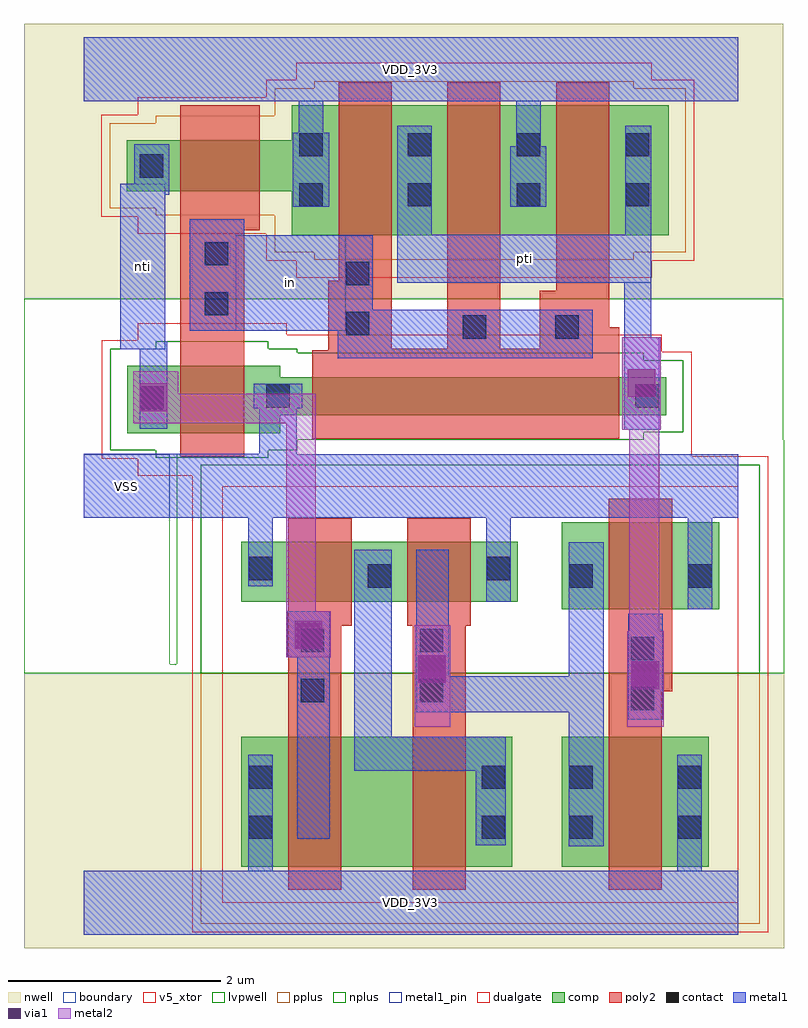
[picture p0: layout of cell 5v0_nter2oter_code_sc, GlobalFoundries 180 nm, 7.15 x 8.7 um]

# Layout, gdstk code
from math import pi, radians
import gdstk
lib = gdstk.Library(unit=1e-6, precision=1e-09)
def R(c, l, rs):  # rectangles x0, y0, x1, y1
    for r in rs: c.add(gdstk.rectangle(r[:2], r[2:], *l))
def A(c, l, x, y, w, h, nx, ny, dx, dy):  # array of equal rectangles
    R(c, l, [(x+i*dx, y+j*dy, x+i*dx+w, y+j*dy+h) for i in range(nx) for j in range(ny)])
def P(c, l, *ps):  # polygons
    for p in ps: c.add(gdstk.Polygon(p, *l))
boundary = (0, 0)
nwell = (21, 0)
comp = (22, 0)
poly2 = (30, 0)
pplus = (31, 0)
nplus = (32, 0)
contact = (33, 0)
metal1 = (34, 0)
metal1_pin = (34, 10)
via1 = (35, 0)
metal2 = (36, 0)
dualgate = (55, 0)
v5_xtor = (112, 1)
lvpwell = (204, 0)

not_internal = lib.new_cell('not_internal')
R(not_internal, boundary, [(0,0,2.24,3.92)])
R(not_internal, nwell, [(-0.43,1.76,2.67,4.35)])
R(not_internal, comp, [(0.18,0.34,1.66,1.16), (0.28,2.36,1.66,3.58)])
P(not_internal, poly2, [(0.62,0.12),(0.62,1.93),(0.72,1.93),(0.72,3.8),(1.22,3.8),(1.22,0.12)])
R(not_internal, pplus, [(-0.2,1.76,2.44,4.12)])
R(not_internal, nplus, [(-0.2,-0.2,2.44,1.76)])
R(not_internal, contact, [(0.25,0.735,0.47,0.955), (1.37,0.735,1.59,0.955), (0.79,1.42,1.01,1.64), (0.79,1.89,1.01,2.11), (0.35,2.63,0.57,2.85), (1.37,2.63,1.59,2.85), (0.35,3.1,0.57,3.32), (1.37,3.1,1.59,3.32)])
R(not_internal, metal1, [(1.265,0.53,1.595,3.39), (0.71,1.2,1.035,2.2)])
P(not_internal, metal1, [(0,-0.3),(0,0.3),(0.245,0.3),(0.245,1.16),(0.475,1.16),(0.475,0.3),(2.24,0.3),(2.24,-0.3)],
  [(0.345,2.53),(0.345,3.62),(0,3.62),(0,4.22),(2.24,4.22),(2.24,3.62),(0.575,3.62),(0.575,2.53)])
R(not_internal, dualgate, [(-0.28,-0.28,2.52,4.2)])
R(not_internal, v5_xtor, [(0,0,2.24,3.92)])
R(not_internal, lvpwell, [(-0.43,-0.43,2.67,1.76)])
not_internal.add(gdstk.Label('VSS', (1.12,-0.08), layer=34, texttype=10))
not_internal.add(gdstk.Label('ZN', (1.4,1.96), layer=34, texttype=10))
not_internal.add(gdstk.Label('I', (0.84,1.96), layer=34, texttype=10))
not_internal.add(gdstk.Label('VDD', (1.12,3.92), layer=34, texttype=10))
not_internal.add(gdstk.Label('& Vendor GLOBALFOUNDRIES', (0,2), layer=63, texttype=63))
not_internal.add(gdstk.Label('& Product GF018hv5v_mcu_sc7', (0,1.5), layer=63, texttype=63))
not_internal.add(gdstk.Label('& Version 2015q2v1', (0,1), layer=63, texttype=63))
not_internal.add(gdstk.Label('& Metric 1.00', (0,0.5), layer=63, texttype=63))
not_internal.add(gdstk.Label('VNW', (0.345,3.92), layer=21, texttype=10))
not_internal.add(gdstk.Label('VPW', (0.34,-0.085), layer=204, texttype=10))

nor_mod = lib.new_cell('nor_mod')
R(nor_mod, boundary, [(0,0,3.36,3.92)])
R(nor_mod, nwell, [(-0.43,1.76,3.79,4.35)])
R(nor_mod, comp, [(0.18,0.525,2.78,1.09), (0.18,2.36,2.73,3.58)])
P(nor_mod, poly2, [(0.62,0.305),(0.62,3.8),(1.12,3.8),(1.12,1.315),(1.22,1.315),(1.22,0.305)],
  [(1.74,0.305),(1.74,1.315),(1.79,1.315),(1.79,3.8),(2.29,3.8),(2.29,1.315),(2.34,1.315),(2.34,0.305)])
R(nor_mod, pplus, [(-0.2,1.76,3.56,4.12)])
R(nor_mod, nplus, [(-0.2,-0.2,3.56,1.76)])
R(nor_mod, contact, [(0.25,0.665,0.47,0.885), (2.49,0.665,2.71,0.885), (1.37,0.735,1.59,0.955), (0.74,1.345,0.96,1.565), (1.86,1.345,2.08,1.565), (0.74,1.815,0.96,2.035), (1.86,1.815,2.08,2.035), (0.25,2.63,0.47,2.85), (2.44,2.63,2.66,2.85), (0.25,3.1,0.47,3.32), (2.44,3.1,2.66,3.32)])
R(nor_mod, metal1, [(0.705,1.18,1.01,3.32)])
P(nor_mod, metal1, [(1.24,0.6),(1.24,2.68),(2.385,2.68),(2.385,3.38),(2.665,3.38),(2.665,2.36),(1.595,2.36),(1.595,0.6)],
  [(1.825,0.6),(1.825,2.13),(2.855,2.13),(2.855,1.79),(2.13,1.79),(2.13,0.6)],
  [(0,-0.3),(0,0.3),(0.245,0.3),(0.245,0.945),(0.475,0.945),(0.475,0.3),(2.485,0.3),(2.485,1.09),(2.715,1.09),(2.715,0.3),(3.36,0.3),(3.36,-0.3)],
  [(0.245,2.53),(0.245,3.62),(0,3.62),(0,4.22),(3.36,4.22),(3.36,3.62),(0.475,3.62),(0.475,2.53)])
R(nor_mod, dualgate, [(-0.28,-0.28,3.64,4.2)])
R(nor_mod, v5_xtor, [(0,0,3.36,3.92)])
R(nor_mod, lvpwell, [(-0.43,-0.43,3.79,1.76)])
nor_mod.add(gdstk.Label('VDD', (1.68,3.925), layer=34, texttype=10))
nor_mod.add(gdstk.Label('VSS', (1.68,0), layer=34, texttype=10))
nor_mod.add(gdstk.Label('ZN', (1.96,2.52), layer=34, texttype=10))
nor_mod.add(gdstk.Label('A1', (1.96,1.4), layer=34, texttype=10))
nor_mod.add(gdstk.Label('A2', (0.84,2.52), layer=34, texttype=10))
nor_mod.add(gdstk.Label('& Vendor GLOBALFOUNDRIES', (0,2), layer=63, texttype=63))
nor_mod.add(gdstk.Label('& Product GF018hv5v_mcu_sc7', (0,1.5), layer=63, texttype=63))
nor_mod.add(gdstk.Label('& Version 2015q2v1', (0,1), layer=63, texttype=63))
nor_mod.add(gdstk.Label('& Metric 1.00', (0,0.5), layer=63, texttype=63))
nor_mod.add(gdstk.Label('VNW', (0.345,3.92), layer=21, texttype=10))
nor_mod.add(gdstk.Label('VPW', (0.34,-0.085), layer=204, texttype=10))

c_5v0_nter2oter_code_sc = lib.new_cell('5v0_nter2oter_code_sc')
R(c_5v0_nter2oter_code_sc, nwell, [(-2.52,-4.63,0.485,-2.15), (-2.52,-2.15,-0.045,-2.04), (-2.52,1.48,4.625,4.07)])
R(c_5v0_nter2oter_code_sc, comp, [(-1.55,0.215,-0.11,0.385), (-1.55,0.385,3.52,0.745), (-1.55,0.745,-0.11,0.85), (0,2.08,3.545,2.495), (-1.555,2.495,3.545,2.975), (0,2.975,3.545,3.3)])
R(c_5v0_nter2oter_code_sc, poly2, [(-1.05,-0.005,-0.45,2.125), (0.19,0.165,3.08,0.995), (0.34,0.995,3.08,1.01), (0.34,1.01,0.94,1.65), (1.46,1.01,1.96,3.52), (2.33,1.01,3.08,1.215), (2.33,1.215,2.985,1.555), (2.485,1.555,2.985,3.52), (0.44,1.65,0.94,3.52), (-1.05,2.125,-0.3,3.3)])
R(c_5v0_nter2oter_code_sc, pplus, [(2.235,-4.02,2.38,-2.48), (0.21,1.85,3.215,1.92), (-0.16,1.92,3.705,2.265), (-1.28,2.265,3.705,2.335), (-1.715,2.335,3.705,3.135), (-1.28,3.135,3.705,3.205), (-0.16,3.205,3.705,3.46), (0.21,3.46,3.215,3.53)])
R(c_5v0_nter2oter_code_sc, nplus, [(2.285,-1.53,2.38,-0.645), (-1.28,-0.015,-0.22,0.055), (-1.71,0.055,0.05,0.155), (-1.71,0.155,3.31,0.225), (-1.71,0.225,3.68,0.905), (-1.71,0.905,3.31,0.975), (-1.71,0.975,0.05,1.01), (-1.28,1.01,-0.22,1.08)])
A(c_5v0_nter2oter_code_sc, contact, 1.09, 2.35, 0.22, 0.22, 3, 2, 1.025, 0.47)
R(c_5v0_nter2oter_code_sc, contact, [(-1.425,0.44,-1.205,0.66), (-0.24,0.455,-0.02,0.675), (3.23,0.455,3.45,0.675), (1.61,1.105,1.83,1.325), (2.48,1.105,2.7,1.325), (0.51,1.14,0.73,1.36), (-0.82,1.325,-0.6,1.545), (0.51,1.61,0.73,1.83), (-0.82,1.795,-0.6,2.015), (0.07,2.35,0.29,2.57), (-1.43,2.62,-1.21,2.84), (0.07,2.82,0.29,3.04)])
A(c_5v0_nter2oter_code_sc, metal1, -1.96, -4.5, 6.16, 0.6, 1, 3, 0, 3.92)
R(c_5v0_nter2oter_code_sc, metal1, [(3.165,-2.415,3.49,-1.705), (1.43,-2.41,2.8,-2.33), (1.17,-2.33,2.8,-2.07), (1.17,-2.07,1.475,-1.665), (-0.045,-1.89,0.355,-1.46), (-1.96,0.02,0.045,0.025), (-0.305,0.025,0.045,0.45), (3.125,0.25,3.455,1.12), (-1.43,0.26,-1.17,1.005), (-0.36,0.45,0.1,0.68), (0.43,0.92,2.83,1.18), (-1.615,1.005,-1.17,1.08), (-1.615,1.08,-1.19,2.46), (3.125,1.12,3.38,1.63), (-0.96,1.18,2.83,1.38), (-0.96,1.38,0.76,2.08), (0.99,1.63,3.38,2.085), (-0.96,2.08,-0.45,2.23), (0.99,2.085,1.315,3.11), (3.135,2.085,3.38,3.11), (0.01,2.345,0.35,3.045), (2.055,2.345,2.395,2.915), (-1.615,2.46,-1.155,2.565), (-1.485,2.565,-1.155,2.935), (2.11,2.915,2.34,3.34), (0.065,3.045,0.295,3.34)])
R(c_5v0_nter2oter_code_sc, metal1_pin, [(-1.96,-4.5,4.2,-3.9), (-1.96,-0.58,-1.15,0.02), (-1.615,1.005,-1.19,2.565), (-0.53,1.18,0.505,2.08), (0.99,1.63,3.38,2.085), (-1.96,3.34,4.2,3.94)])
R(c_5v0_nter2oter_code_sc, via1, [(3.195,-2.19,3.455,-1.93), (1.19,-2.13,1.45,-1.87), (0.025,-1.81,0.285,-1.55), (-1.43,0.425,-1.17,0.685), (3.16,0.56,3.42,0.82)])
R(c_5v0_nter2oter_code_sc, metal2, [(1.155,-2.545,1.49,-1.59), (3.155,-2.545,3.5,-1.645), (-0.055,-1.89,0.365,-1.46), (3.175,-1.645,3.455,0.25), (-0.055,-1.46,0.225,0.31), (3.11,0.25,3.47,1.12), (-1.49,0.31,0.225,0.59), (-1.49,0.59,-1.07,0.795), (-1.49,0.795,-1.08,0.8)])
R(c_5v0_nter2oter_code_sc, dualgate, [(2.085,-1.68,2.3,-1.61), (-0.715,-0.565,-0.435,-0.405), (2.085,-0.565,2.3,-0.405), (-0.715,-0.405,2.3,-0.38), (-0.715,-0.38,2.58,-0.22), (-0.715,-0.22,3.76,-0.185), (-1.45,-0.185,3.76,-0.025), (-1.79,-0.025,3.76,0.985), (-1.79,0.985,3.48,1.09), (-1.45,1.09,3.48,1.145), (-1.45,1.145,-0.05,1.25), (0.04,1.68,3.385,1.84), (-0.24,1.84,3.785,2.095), (-1.45,2.095,3.785,2.255), (-1.795,2.255,3.785,3.215), (-1.45,3.215,3.785,3.375), (-0.24,3.375,3.785,3.54), (0.04,3.54,3.385,3.7)])
R(c_5v0_nter2oter_code_sc, lvpwell, [(-2.52,-2.04,-0.045,-1.955), (-2.52,-1.955,-1.15,0.02), (-0.625,-1.955,0.39,-0.275), (1.81,-0.71,4.625,-0.275), (-0.625,-0.275,4.625,0.02), (-2.52,0.02,4.625,1.48)])
c_5v0_nter2oter_code_sc.add(gdstk.Reference(not_internal, (4.2,-0.28), rotation=pi))
c_5v0_nter2oter_code_sc.add(gdstk.Reference(nor_mod, (-0.655,-0.28), x_reflection=True))
c_5v0_nter2oter_code_sc.add(gdstk.Label('in', (-0.012,1.63), layer=34, texttype=10))
c_5v0_nter2oter_code_sc.add(gdstk.Label('nti', (-1.402,1.785), layer=34, texttype=10))
c_5v0_nter2oter_code_sc.add(gdstk.Label('pti', (2.185,1.857), layer=34, texttype=10))
c_5v0_nter2oter_code_sc.add(gdstk.Label('VSS', (-1.555,-0.28), layer=34, texttype=10))
c_5v0_nter2oter_code_sc.add(gdstk.Label('VDD_3V3', (1.12,-4.2), layer=34, texttype=10))
c_5v0_nter2oter_code_sc.add(gdstk.Label('VDD_3V3', (1.12,3.64), layer=34, texttype=10))

lib.write_gds('5v0_nter2oter_code_sc.gds')
